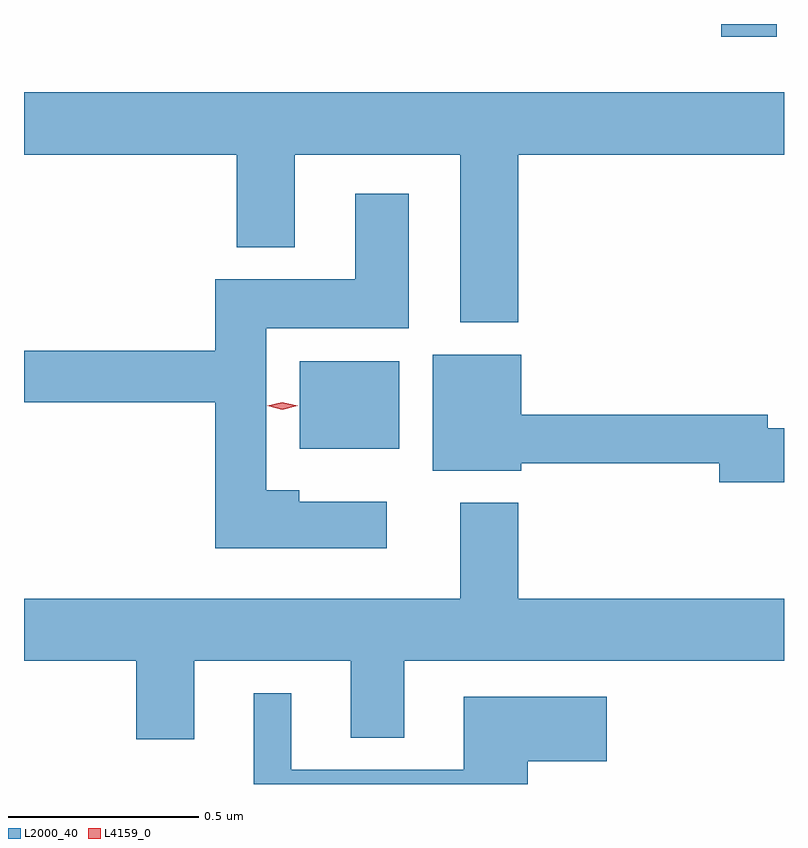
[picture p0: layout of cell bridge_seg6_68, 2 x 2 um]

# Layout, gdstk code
import gdstk
lib = gdstk.Library(unit=1e-6, precision=1e-09)
def R(c, l, rs):  # rectangles x0, y0, x1, y1
    for r in rs: c.add(gdstk.rectangle(r[:2], r[2:], *l))
def P(c, l, *ps):  # polygons
    for p in ps: c.add(gdstk.Polygon(p, *l))
L2000_40 = (2000, 40)
L4159_0 = (4159, 0)

bridge_seg6_68 = lib.new_cell('bridge_seg6_68')
R(bridge_seg6_68, L2000_40, [(647.756,929.246,648.019,929.476), (648.866,930.33,649.012,930.364)])
P(bridge_seg6_68, L2000_40, [(647.031,930.02),(647.591,930.02),(647.591,929.777),(647.743,929.777),(647.743,930.02),(648.179,930.02),(648.179,929.579),(648.332,929.579),(648.332,930.02),(649.031,930.02),(649.031,930.184),(647.031,930.184)],
  [(647.986,929.107),(647.755,929.107),(647.755,929.137),(647.668,929.137),(647.668,929.564),(648.043,929.564),(648.043,929.917),(647.903,929.917),(647.903,929.692),(647.534,929.692),(647.534,929.504),(647.031,929.504),(647.031,929.368),(647.534,929.368),(647.534,928.985),(647.986,928.985)],
  [(649.031,929.3),(648.988,929.3),(648.988,929.336),(648.34,929.336),(648.34,929.494),(648.107,929.494),(648.107,929.189),(648.34,929.189),(648.34,929.208),(648.86,929.208),(648.86,929.158),(649.031,929.158)],
  [(647.031,928.688),(647.327,928.688),(647.327,928.482),(647.479,928.482),(647.479,928.688),(647.891,928.688),(647.891,928.486),(648.031,928.486),(648.031,928.688),(649.031,928.688),(649.031,928.852),(648.332,928.852),(648.332,929.104),(648.179,929.104),(648.179,928.852),(647.031,928.852)],
  [(648.356,928.424),(648.565,928.424),(648.565,928.594),(648.188,928.594),(648.188,928.401),(647.734,928.401),(647.734,928.603),(647.636,928.603),(647.636,928.364),(648.356,928.364)])
P(bridge_seg6_68, L4159_0, [(647.711,929.349),(647.671,929.359),(647.671,929.359),(647.671,929.359),(647.711,929.369),(647.752,929.359),(647.752,929.359),(647.752,929.359)])

lib.write_gds('bridge_seg6_68.gds')
